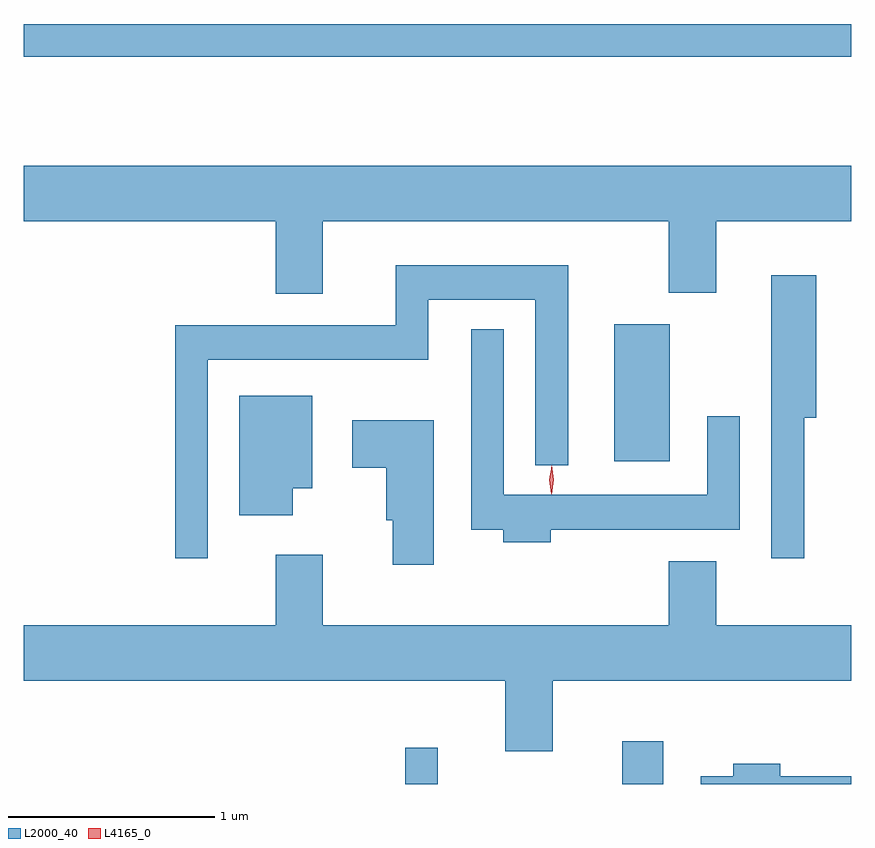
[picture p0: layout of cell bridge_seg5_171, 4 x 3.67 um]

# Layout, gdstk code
import gdstk
lib = gdstk.Library(unit=1e-6, precision=1e-09)
def R(c, l, rs):  # rectangles x0, y0, x1, y1
    for r in rs: c.add(gdstk.rectangle(r[:2], r[2:], *l))
def P(c, l, *ps):  # polygons
    for p in ps: c.add(gdstk.Polygon(p, *l))
L2000_40 = (2000, 40)
L4165_0 = (4165, 0)

bridge_seg5_171 = lib.new_cell('bridge_seg5_171')
R(bridge_seg5_171, L2000_40, [(1330.536,1431.877,1330.694,1432.053), (1331.586,1431.877,1331.784,1432.084), (1331.546,1433.436,1331.814,1434.099), (1328.693,1435.391,1332.693,1435.549)])
P(bridge_seg5_171, L2000_40, [(1330.139,1434.596),(1331.811,1434.596),(1331.811,1434.251),(1332.039,1434.251),(1332.039,1434.596),(1332.693,1434.596),(1332.693,1434.864),(1328.693,1434.864),(1328.693,1434.596),(1329.911,1434.596),(1329.911,1434.246),(1330.139,1434.246)],
  [(1329.584,1433.926),(1330.649,1433.926),(1330.649,1434.216),(1331.166,1434.216),(1331.166,1433.418),(1331.324,1433.418),(1331.324,1434.384),(1330.491,1434.384),(1330.491,1434.094),(1329.426,1434.094),(1329.426,1432.968),(1329.584,1432.968)],
  [(1332.464,1433.646),(1332.524,1433.646),(1332.524,1434.334),(1332.306,1434.334),(1332.306,1432.968),(1332.464,1432.968)],
  [(1331.239,1433.106),(1332.154,1433.106),(1332.154,1433.653),(1331.996,1433.653),(1331.996,1433.274),(1331.014,1433.274),(1331.014,1434.073),(1330.856,1434.073),(1330.856,1433.106),(1331.011,1433.106),(1331.011,1433.046),(1331.239,1433.046)],
  [(1329.994,1433.306),(1330.089,1433.306),(1330.089,1433.754),(1329.736,1433.754),(1329.736,1433.176),(1329.994,1433.176)],
  [(1330.674,1433.634),(1330.281,1433.634),(1330.281,1433.406),(1330.446,1433.406),(1330.446,1433.151),(1330.476,1433.151),(1330.476,1432.936),(1330.674,1432.936)],
  [(1331.249,1432.376),(1332.693,1432.376),(1332.693,1432.644),(1332.039,1432.644),(1332.039,1432.954),(1331.811,1432.954),(1331.811,1432.644),(1330.139,1432.644),(1330.139,1432.984),(1329.911,1432.984),(1329.911,1432.644),(1328.693,1432.644),(1328.693,1432.376),(1331.021,1432.376),(1331.021,1432.036),(1331.249,1432.036)],
  [(1332.693,1431.914),(1332.349,1431.914),(1332.349,1431.974),(1332.121,1431.974),(1332.121,1431.914),(1331.966,1431.914),(1331.966,1431.877),(1332.693,1431.877)])
P(bridge_seg5_171, L4165_0, [(1331.244,1433.277),(1331.235,1433.347),(1331.244,1433.416),(1331.245,1433.416),(1331.245,1433.416),(1331.255,1433.347),(1331.245,1433.277),(1331.245,1433.277)],
  [(1331.243,1433.28),(1331.234,1433.346),(1331.244,1433.412),(1331.244,1433.413),(1331.245,1433.412),(1331.254,1433.346),(1331.244,1433.28),(1331.244,1433.28)])

lib.write_gds('bridge_seg5_171.gds')
